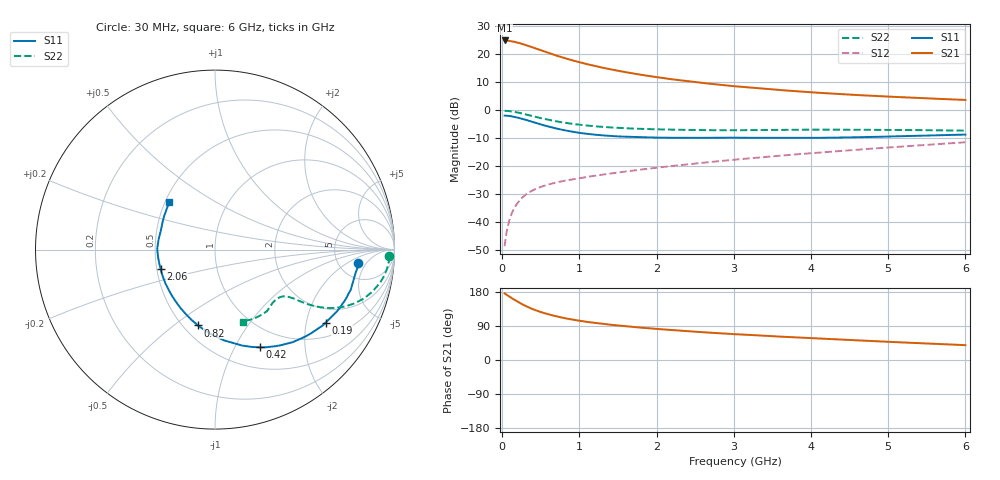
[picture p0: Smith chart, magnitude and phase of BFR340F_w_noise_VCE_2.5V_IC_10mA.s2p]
! Infineon Technologies  Discrete & RF Semiconductors
! BFR340F
! VCE =  2.5 V,  IC =  10 mA
! Common Emitter S-Parameters:  Nov 2015
# GHz  S  MA  R  50
!  f  S11  S21  S12  S22
! GHz  MAG  ANG  MAG  ANG  MAG  ANG  MAG  ANG
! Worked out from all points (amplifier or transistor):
!   206 points, 30 MHz to 6 GHz, reference 50 ohm
!   highest |S21| = 24.9 dB at 30 MHz (marker M1)
!   |S21| within 3 dB of that: start of sweep to 444.5 MHz
!   unconditionally stable (mu >= 1): 1.827 GHz to 5.072 GHz
!   at 200 MHz: K = 0.21, MSG = 28.6 dB, |S12| = -33.1 dB
!   at 1.56 GHz: K = 0.95, MSG = 17.9 dB, |S12| = -22.1 dB
!   at 6 GHz: K = 0.95, MSG = 7.6 dB, |S12| = -11.5 dB
!   lowest NFmin = 1.46 dB at 450 MHz
!   S11 on the Smith chart (normalised r, x): 30 MHz: 7.57, -3.20; 190 MHz: 1.45, -2.60; 420 MHz: 0.75, -1.27; 820 MHz: 0.59, -0.61; 2.06 GHz: 0.52, -0.13; 6 GHz: 0.53, +0.32
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0.03  0.7988 -5.5  17.59 176.0  0.0037 87.7  0.9724 -2.2
0.05  0.7944 -9.2  17.44 172.6  0.0058 85.2  0.9704 -4.0
0.09  0.7888 -16.6  17.31 167.7  0.0106 81.9  0.9607 -7.2
0.14  0.7671 -25.1  16.86 161.0  0.0161 77.9  0.9396 -11.1
0.19  0.7387 -33.4  16.22 154.9  0.0211 74.1  0.9115 -14.4
0.24  0.7094 -41.2  15.54 149.1  0.0257 70.8  0.8804 -17.5
0.3  0.6735 -50.0  14.63 142.7  0.0306 67.6  0.8409 -20.5
0.36  0.6348 -58.0  13.7 137.2  0.0347 64.9  0.8011 -23.0
0.42  0.5991 -65.3  12.8 132.2  0.0383 62.8  0.7639 -24.9
0.5  0.5551 -74.3  11.7 126.4  0.0425 60.7  0.7182 -27.0
0.6  0.5083 -84.3  10.48 120.1  0.047 59.0  0.6696 -28.7
0.7  0.4697 -93.1  9.441 115.0  0.0509 58.0  0.6295 -29.8
0.82  0.4328 -102.6  8.404 110.0  0.0551 57.7  0.5915 -30.6
1.04  0.3857 -117.3  6.952 102.4  0.0622 58.1  0.5408 -31.5
1.2  0.3639 -126.7  6.146 97.8  0.0673 58.8  0.5142 -31.9
1.4  0.3461 -136.4  5.365 93.1  0.0736 59.9  0.4906 -32.6
2.02  0.3226 -159.0  3.852 81.7  0.0941 63.3  0.4531 -35.4
2.06  0.3218 -160.1  3.785 81.1  0.0955 63.5  0.4518 -35.7
3.1  0.3206 177.0  2.609 67.3  0.1335 66.9  0.4376 -43.2
4.1  0.3196 161.1  2.041 56.7  0.1742 68.1  0.4481 -50.4
5.1  0.3394 146.6  1.72 47.1  0.2197 67.8  0.4417 -59.4
6  0.3656 134.1  1.521 39.2  0.2662 66.3  0.43 -68.7
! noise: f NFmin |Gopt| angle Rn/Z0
0.45  1.46  0.25  -1  0.28
0.9  1.58  0.23  10  0.3
1.9  2.07  0.09  -23  0.3
2.4  2.36  0.04  -58  0.31
